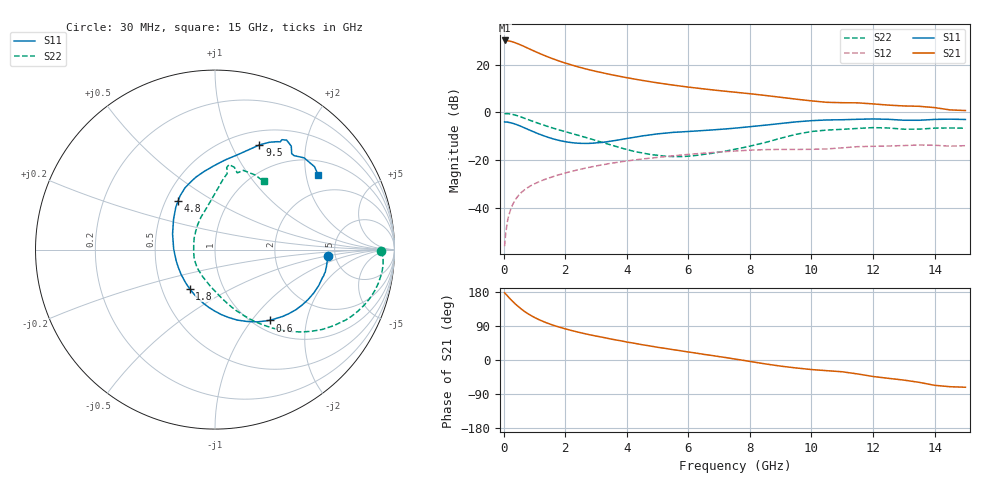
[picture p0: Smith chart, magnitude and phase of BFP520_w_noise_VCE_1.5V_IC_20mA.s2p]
! Infineon Technologies  Discrete & RF Semiconductors
! BFP520
! VCE =  1.5 V,  IC =  20 mA
! Common Emitter S-Parameters:  Oct 2015
# GHz  S  MA  R  50
!  f  S11  S21  S12  S22
! GHz  MAG  ANG  MAG  ANG  MAG  ANG  MAG  ANG
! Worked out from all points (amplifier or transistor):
!   109 points, 30 MHz to 15 GHz, reference 50 ohm
!   highest |S21| = 30.1 dB at 30 MHz (marker M1)
!   |S21| within 3 dB of that: start of sweep to 745.3 MHz
!   unconditionally stable (mu >= 1): 2.752 GHz to end of sweep
!   at 450 MHz: K = 0.34, MSG = 32.0 dB, |S12| = -35.2 dB
!   at 4 GHz: K = 1.10, MAG = 15.5 dB, |S12| = -20.3 dB
!   at 15 GHz: K = 1.26, MAG = 4.3 dB, |S12| = -13.9 dB
!   lowest NFmin = 2.00 dB at 900 MHz
!   S11 on the Smith chart (normalised r, x): 30 MHz: 4.37, -0.48; 600 MHz: 1.18, -1.23; 1.8 GHz: 0.69, -0.32; 4.8 GHz: 0.58, +0.36; 9.5 GHz: 0.66, +1.29; 15 GHz: 1.41, +2.35
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0.03  0.6315 -3.0  31.82 177.3  0.0016 99.7  0.9261 -0.5
0.14  0.6232 -13.5  31.31 167.5  0.006 84.4  0.9382 -7.8
0.2  0.6117 -19.1  30.77 162.3  0.0083 82.3  0.9291 -11.7
0.25  0.6009 -23.8  30.23 158.1  0.0103 80.1  0.9175 -14.8
0.35  0.5753 -32.5  28.87 150.1  0.0139 77.0  0.8857 -20.6
0.45  0.5452 -40.8  27.29 142.7  0.0173 73.8  0.8478 -25.9
0.6  0.4985 -52.3  24.86 132.7  0.0219 70.3  0.7851 -32.7
0.8  0.4375 -66.2  21.69 121.5  0.0273 66.5  0.7039 -40.3
1  0.3854 -78.7  18.98 112.3  0.0321 63.9  0.6315 -46.4
1.1  0.3631 -84.6  17.76 108.3  0.0344 62.9  0.5993 -49.0
1.4  0.3082 -101.4  14.74 97.9  0.0411 60.4  0.5157 -55.9
1.8  0.2594 -123.0  11.84 86.9  0.0498 57.7  0.4305 -63.5
2.2  0.2339 -143.9  9.798 77.9  0.0584 55.0  0.3639 -70.3
2.6  0.2251 -163.7  8.303 70.1  0.0671 52.0  0.3075 -77.1
3.5  0.2521 159.7  6.119 55.0  0.0865 44.4  0.2074 -96.8
4.8  0.3412 126.9  4.335 36.4  0.1111 32.5  0.1311 -146.4
5.1  0.3605 121.9  4.047 32.4  0.1164 30.0  0.1246 -159.4
7.6  0.4737 89.2  2.604 1.5  0.1571 6.8  0.1736 122.4
9.5  0.6337 67.0  1.888 -21.0  0.1681 -11.6  0.3481 86.7
10.5  0.6944 60.0  1.623 -28.2  0.1721 -16.5  0.4269 81.0
13  0.6847 51.4  1.362 -53.0  0.2026 -37.6  0.4453 73.9
15  0.7095 35.8  1.092 -71.9  0.2014 -53.9  0.4667 54.4
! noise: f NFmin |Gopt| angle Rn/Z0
0.45  2.01  0.16  1  0.27
0.9  2  0.12  1  0.3
1.9  2.2  0.1  -2  0.28
2.4  2.2  0.08  -6  0.28
3.5  2.15  0.04  -30  0.29
